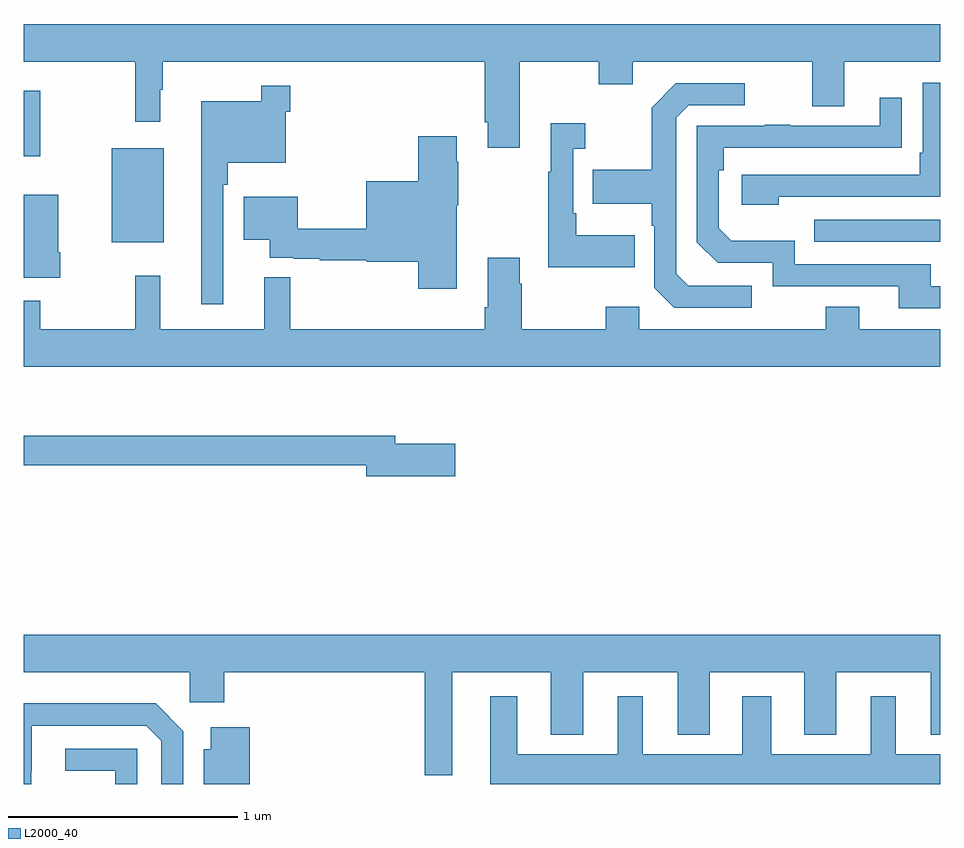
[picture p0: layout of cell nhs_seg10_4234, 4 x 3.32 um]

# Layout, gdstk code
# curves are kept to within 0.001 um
import gdstk
lib = gdstk.Library(unit=1e-6, precision=1e-09)
def R(c, l, rs):  # rectangles x0, y0, x1, y1
    for r in rs: c.add(gdstk.rectangle(r[:2], r[2:], *l))
def P(c, l, *ps):  # polygons
    for p in ps: c.add(gdstk.Polygon(p, *l))
L2000_40 = (2000, 40)

nhs_seg10_4234 = lib.new_cell('nhs_seg10_4234')
R(nhs_seg10_4234, L2000_40, [(347.384,1296.863,347.611,1297.273), (350.449,1296.867,351,1296.963), (347,1297.238,347.073,1297.525)])
P(nhs_seg10_4234, L2000_40, [(349.165,1297.652),(349.51,1297.652),(349.51,1297.553),(349.657,1297.553),(349.657,1297.652),(350.441,1297.652),(350.441,1297.458),(350.581,1297.458),(350.581,1297.652),(351,1297.652),(351,1297.816),(347,1297.816),(347,1297.652),(347.487,1297.652),(347.487,1297.389),(347.596,1297.389),(347.596,1297.529),(347.608,1297.529),(347.608,1297.652),(349.013,1297.652),(349.013,1297.387),(349.025,1297.387),(349.025,1297.275),(349.165,1297.275)],
  [(350.294,1297.062),(351,1297.062),(351,1297.56),(350.922,1297.56),(350.922,1297.255),(350.909,1297.255),(350.909,1297.158),(350.133,1297.158),(350.133,1297.028),(350.294,1297.028)],
  [(350.176,1296.675),(349.899,1296.675),(349.848,1296.726),(349.848,1297.407),(349.902,1297.461),(350.146,1297.461),(350.146,1297.557),(349.845,1297.557),(349.74,1297.451),(349.74,1297.179),(349.483,1297.179),(349.483,1297.031),(349.74,1297.031),(349.74,1296.935),(349.752,1296.935),(349.752,1296.666),(349.839,1296.579),(350.176,1296.579)],
  [(347.871,1297.115),(347.891,1297.115),(347.891,1297.211),(348.144,1297.211),(348.144,1297.433),(348.164,1297.433),(348.164,1297.546),(348.036,1297.546),(348.036,1297.48),(347.774,1297.48),(347.774,1296.594),(347.871,1296.594)],
  [(351,1296.672),(350.959,1296.672),(350.959,1296.768),(350.364,1296.768),(350.364,1296.871),(350.087,1296.871),(350.034,1296.924),(350.034,1297.178),(350.054,1297.178),(350.054,1297.275),(350.831,1297.276),(350.831,1297.495),(350.735,1297.495),(350.735,1297.371),(350.345,1297.371),(350.345,1297.376),(350.233,1297.376),(350.233,1297.371),(349.938,1297.371),(349.938,1296.864),(350.028,1296.774),(350.268,1296.774),(350.268,1296.672),(350.819,1296.672),(350.819,1296.576),(351,1296.576)],
  [(349.667,1296.895),(349.411,1296.895),(349.411,1296.991),(349.398,1296.991),(349.398,1297.271),(349.45,1297.271),(349.45,1297.384),(349.301,1297.384),(349.301,1297.171),(349.29,1297.171),(349.29,1296.755),(349.667,1296.755)],
  [(348.889,1297.025),(348.897,1297.025),(348.897,1297.214),(348.889,1297.214),(348.889,1297.327),(348.722,1297.327),(348.722,1297.129),(348.494,1297.129),(348.494,1296.922),(348.196,1296.922),(348.196,1297.063),(347.96,1297.063),(347.96,1296.875),(348.074,1296.875),(348.074,1296.797),(348.178,1296.797),(348.178,1296.792),(348.292,1296.792),(348.292,1296.786),(348.498,1296.786),(348.498,1296.778),(348.722,1296.778),(348.722,1296.66),(348.889,1296.66)],
  [(347.16,1296.82),(347.152,1296.82),(347.152,1297.072),(347,1297.072),(347,1296.708),(347.16,1296.708)],
  [(351,1296.484),(350.647,1296.484),(350.647,1296.583),(350.5,1296.583),(350.5,1296.484),(349.686,1296.484),(349.686,1296.583),(349.54,1296.583),(349.54,1296.484),(349.173,1296.484),(349.173,1296.683),(349.165,1296.683),(349.165,1296.796),(349.025,1296.796),(349.025,1296.58),(349.013,1296.58),(349.013,1296.484),(348.163,1296.484),(348.163,1296.712),(348.05,1296.712),(348.05,1296.484),(347.597,1296.484),(347.597,1296.718),(347.487,1296.718),(347.487,1296.484),(347.073,1296.484),(347.073,1296.608),(347,1296.608),(347,1296.32),(351,1296.32)],
  [(348.883,1295.985),(348.622,1295.985),(348.622,1296.019),(347,1296.019),(347,1295.89),(348.494,1295.89),(348.494,1295.843),(348.883,1295.843)],
  [(348.871,1294.988),(349.301,1294.988),(349.301,1294.715),(349.441,1294.715),(349.441,1294.988),(349.853,1294.988),(349.853,1294.715),(349.993,1294.715),(349.993,1294.988),(350.405,1294.988),(350.405,1294.715),(350.545,1294.715),(350.545,1294.988),(350.957,1294.988),(350.957,1294.715),(351,1294.715),(351,1295.152),(347,1295.152),(347,1294.988),(347.724,1294.988),(347.724,1294.857),(347.876,1294.857),(347.876,1294.988),(348.75,1294.988),(348.75,1294.539),(348.871,1294.539)],
  [(351,1294.63),(350.806,1294.63),(350.806,1294.882),(350.696,1294.882),(350.696,1294.63),(350.263,1294.63),(350.263,1294.882),(350.135,1294.882),(350.135,1294.63),(349.702,1294.63),(349.702,1294.882),(349.592,1294.882),(349.592,1294.63),(349.153,1294.63),(349.153,1294.882),(349.037,1294.882),(349.037,1294.5),(351,1294.5)],
  [(347.034,1294.555),(347.035,1294.555),(347.035,1294.755),(347.535,1294.755),(347.601,1294.689),(347.601,1294.5),(347.697,1294.5),(347.697,1294.731),(347.576,1294.852),(347,1294.852),(347,1294.5),(347.034,1294.5)],
  [(347.987,1294.747),(347.816,1294.747),(347.816,1294.651),(347.786,1294.651),(347.786,1294.5),(347.987,1294.5)],
  [(347.496,1294.653),(347.181,1294.653),(347.181,1294.557),(347.4,1294.557),(347.4,1294.5),(347.496,1294.5)])

lib.write_gds('nhs_seg10_4234.gds')
